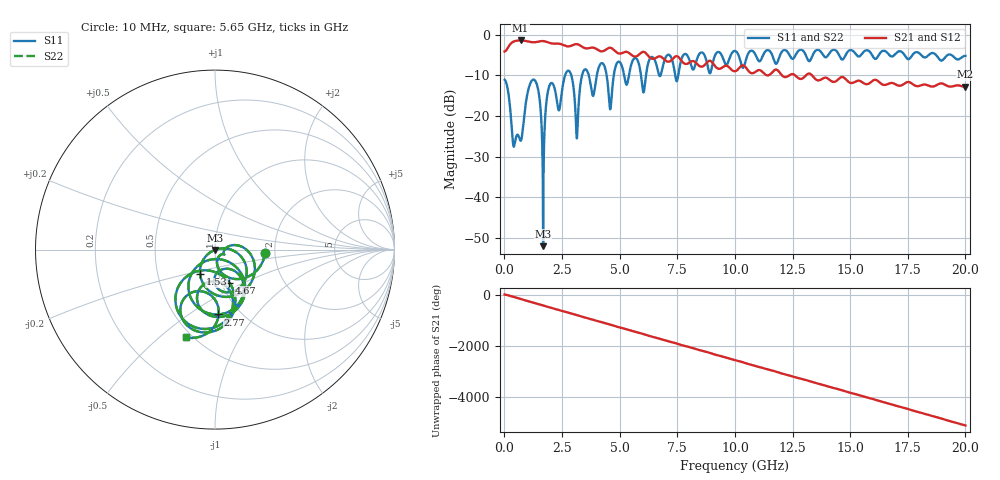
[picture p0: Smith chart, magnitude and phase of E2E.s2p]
! Touchstone file from project
# GHZ S MA R 50.000000
! Modal data exported
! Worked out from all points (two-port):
!   2000 points, 10 MHz to 20 GHz, reference 50 ohm
!   highest |S21| = -1.41 dB at 700 MHz (marker M1); lowest = -12.8 dB at 19.98 GHz (marker M2)
!   |S21| within 3 dB of the highest: start of sweep to 4.886 GHz; 5.152 GHz to 5.389 GHz (236.6 MHz wide, 4.49 % of centre)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
!   lowest |S11| = -52.0 dB at 1.68 GHz (marker M3), VSWR 1.01, Z = 49.9 - j0.207 ohm
!   |S11| at or under -10 dB: start of sweep to 2.633 GHz; 2.904 GHz to 3.369 GHz (464.9 MHz wide, 14.8 % of centre); 3.661 GHz to 4.01 GHz (348.6 MHz wide, 9.09 % of centre)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
!   |S22| runs from -52.0 to -3.7 dB; largest |S21 - S12| = 0
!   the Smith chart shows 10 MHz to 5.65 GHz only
!   S11 on the Smith chart (normalised r, x): 10 MHz: 1.77, -0.07; 1.53 GHz: 0.82, -0.23; 2.77 GHz: 0.79, -0.66; 4.67 GHz: 1.09, -0.42; 5.65 GHz: 0.46, -0.62
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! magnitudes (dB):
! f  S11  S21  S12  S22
! 10 MHz  -11.1  -4.1  -4.1  -11.1
! 400 MHz  -27.5  -1.7  -1.7  -27.5
! 700 MHz  -26.0  -1.4  -1.4  -26.0
! 1.16 GHz  -11.5  -1.8  -1.8  -11.5
! 1.53 GHz  -15.9  -1.6  -1.6  -15.9
! 1.68 GHz  -52.0  -1.6  -1.6  -52.0
! 1.95 GHz  -12.6  -2.0  -2.0  -12.6
! 2.37 GHz  -18.6  -2.2  -2.2  -18.6
! 2.77 GHz  -8.8  -2.9  -2.9  -8.8
! 3.14 GHz  -25.5  -2.3  -2.3  -25.5
! 3.35 GHz  -10.5  -2.9  -2.9  -10.5
! 4.25 GHz  -7.0  -4.1  -4.1  -7.0
! 4.67 GHz  -13.9  -3.4  -3.4  -13.9
! 4.9 GHz  -6.8  -4.5  -4.5  -6.8
! 5.65 GHz  -5.8  -5.4  -5.4  -5.8
! 6.03 GHz  -14.2  -4.2  -4.2  -14.2
! 6.68 GHz  -9.3  -5.4  -5.4  -9.3
! 10.01 GHz  -4.0  -9.0  -9.0  -4.0
! 13.34 GHz  -5.5  -10.0  -10.0  -5.5
! 16.67 GHz  -4.8  -12.0  -12.0  -4.8
! 19.98 GHz  -5.2  -12.8  -12.8  -5.2
! 20 GHz  -5.2  -12.8  -12.8  -5.2
